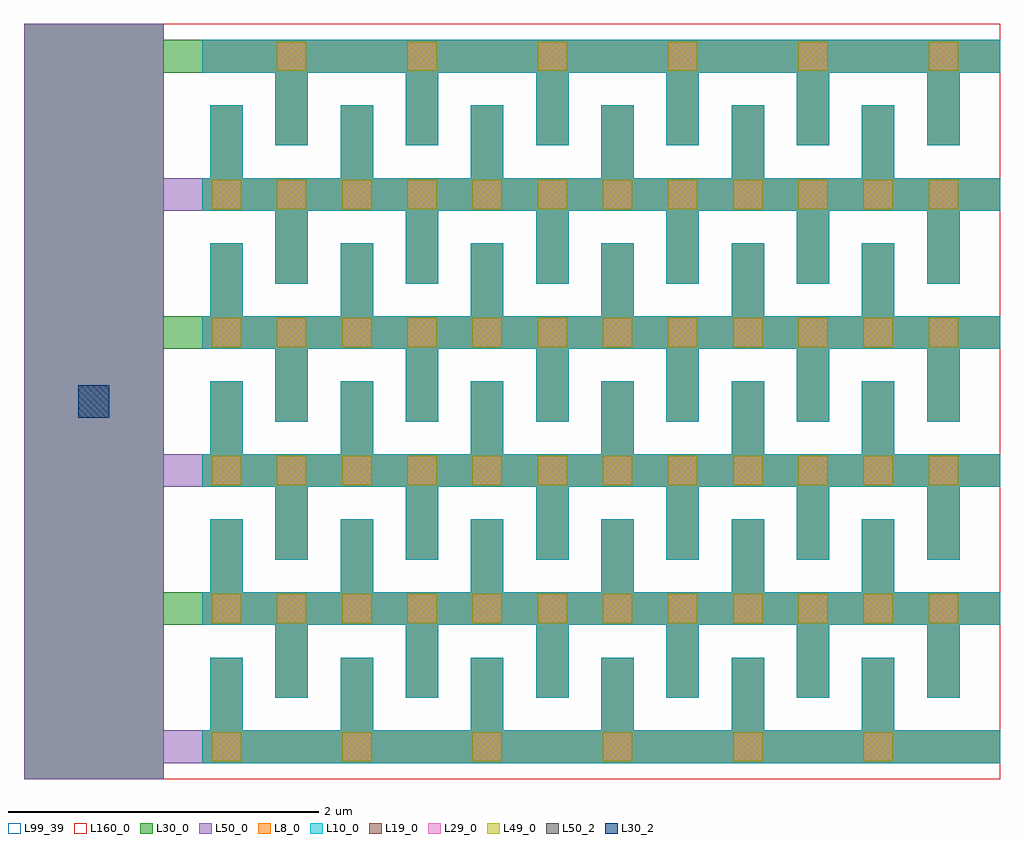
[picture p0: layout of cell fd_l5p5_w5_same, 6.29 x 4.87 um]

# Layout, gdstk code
import gdstk
lib = gdstk.Library(unit=1e-6, precision=1e-09)
def R(c, l, rs):  # rectangles x0, y0, x1, y1
    for r in rs: c.add(gdstk.rectangle(r[:2], r[2:], *l))
def A(c, l, x, y, w, h, nx, ny, dx, dy):  # array of equal rectangles
    R(c, l, [(x+i*dx, y+j*dy, x+i*dx+w, y+j*dy+h) for i in range(nx) for j in range(ny)])
L8_0 = (8, 0)
L10_0 = (10, 0)
L19_0 = (19, 0)
L29_0 = (29, 0)
L30_0 = (30, 0)
L30_2 = (30, 2)
L49_0 = (49, 0)
L50_0 = (50, 0)
L50_2 = (50, 2)
L99_39 = (99, 39)
L160_0 = (160, 0)

fd_l5p5_w5_same = lib.new_cell('fd_l5p5_w5_same')
A(fd_l5p5_w5_same, L8_0, -0.05, -0.105, 5.14, 0.21, 1, 6, 0, 0.89)
A(fd_l5p5_w5_same, L8_0, 0, 0, 0.21, 0.575, 6, 5, 0.84, 0.89)
A(fd_l5p5_w5_same, L8_0, 0.42, 0.315, 0.21, 0.575, 6, 5, 0.84, 0.89)
A(fd_l5p5_w5_same, L10_0, -0.05, -0.105, 5.14, 0.21, 1, 6, 0, 0.89)
A(fd_l5p5_w5_same, L10_0, 0, 0, 0.21, 0.575, 6, 5, 0.84, 0.89)
A(fd_l5p5_w5_same, L10_0, 0.42, 0.315, 0.21, 0.575, 6, 5, 0.84, 0.89)
A(fd_l5p5_w5_same, L19_0, 0.01, -0.095, 0.19, 0.19, 6, 1, 0.84, 0)
A(fd_l5p5_w5_same, L19_0, 0.01, 0.795, 0.19, 0.19, 12, 4, 0.42, 0.89)
A(fd_l5p5_w5_same, L19_0, 0.43, 4.355, 0.19, 0.19, 6, 1, 0.84, 0)
A(fd_l5p5_w5_same, L29_0, 0.01, -0.095, 0.19, 0.19, 6, 1, 0.84, 0)
A(fd_l5p5_w5_same, L29_0, 0.01, 0.795, 0.19, 0.19, 12, 4, 0.42, 0.89)
A(fd_l5p5_w5_same, L29_0, 0.43, 4.355, 0.19, 0.19, 6, 1, 0.84, 0)
A(fd_l5p5_w5_same, L30_0, -0.05, -0.105, 5.14, 0.21, 1, 3, 0, 1.78)
A(fd_l5p5_w5_same, L30_0, 0, 0, 0.21, 0.575, 6, 5, 0.84, 0.89)
A(fd_l5p5_w5_same, L30_0, 0.42, 0.315, 0.21, 0.575, 6, 5, 0.84, 0.89)
A(fd_l5p5_w5_same, L30_0, -1.2, 0.785, 6.29, 0.21, 1, 3, 0, 1.78)
R(fd_l5p5_w5_same, L30_0, [(-1.2,-0.21,-0.3,4.66)])
R(fd_l5p5_w5_same, L30_2, [(-0.85,2.12,-0.65,2.33)])
A(fd_l5p5_w5_same, L49_0, 0.01, -0.095, 0.19, 0.19, 6, 1, 0.84, 0)
A(fd_l5p5_w5_same, L49_0, 0.01, 0.795, 0.19, 0.19, 12, 4, 0.42, 0.89)
A(fd_l5p5_w5_same, L49_0, 0.43, 4.355, 0.19, 0.19, 6, 1, 0.84, 0)
A(fd_l5p5_w5_same, L50_0, -1.2, -0.105, 6.29, 0.21, 1, 3, 0, 1.78)
A(fd_l5p5_w5_same, L50_0, 0, 0, 0.21, 0.575, 6, 5, 0.84, 0.89)
A(fd_l5p5_w5_same, L50_0, 0.42, 0.315, 0.21, 0.575, 6, 5, 0.84, 0.89)
A(fd_l5p5_w5_same, L50_0, -0.05, 0.785, 5.14, 0.21, 1, 3, 0, 1.78)
R(fd_l5p5_w5_same, L50_0, [(-1.2,-0.21,-0.3,4.66)])
R(fd_l5p5_w5_same, L50_2, [(-0.85,2.12,-0.65,2.33)])
R(fd_l5p5_w5_same, L99_39, [(-1.2,-0.21,5.09,4.66)])
R(fd_l5p5_w5_same, L160_0, [(-1.2,-0.21,5.09,4.66)])
fd_l5p5_w5_same.add(gdstk.Label('cap_cmomi C=29.823fF', (-1.2,-0.71), layer=63, texttype=0))

lib.write_gds('fd_l5p5_w5_same.gds')
